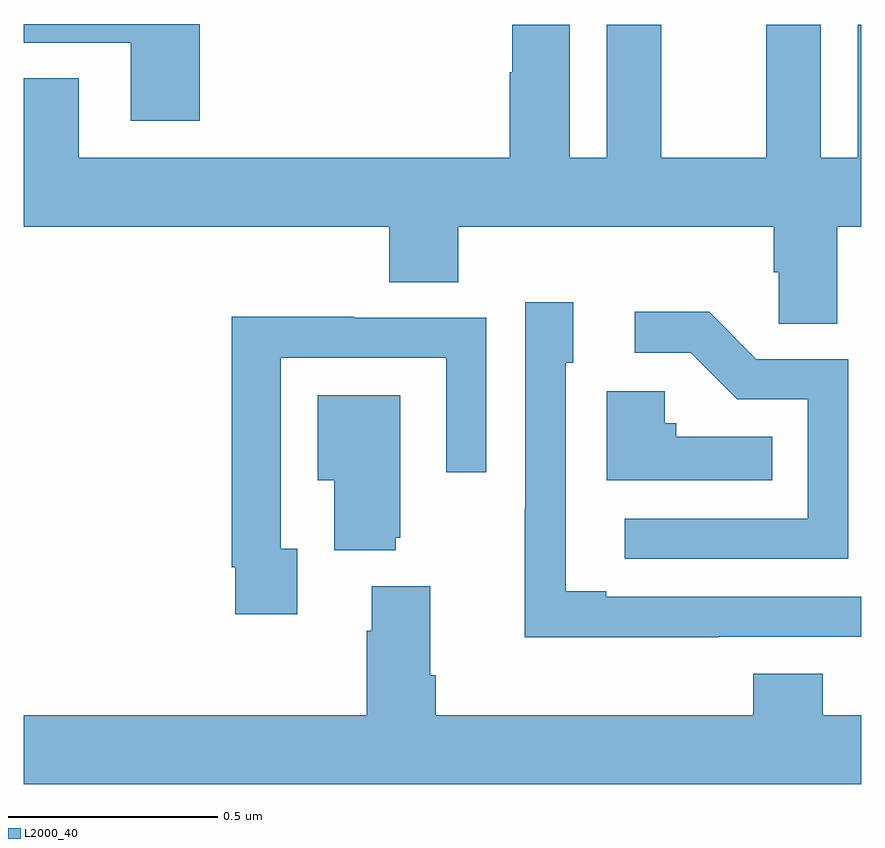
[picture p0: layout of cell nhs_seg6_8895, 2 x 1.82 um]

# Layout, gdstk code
import gdstk
lib = gdstk.Library(unit=1e-6, precision=1e-09)
def P(c, l, *ps):  # polygons
    for p in ps: c.add(gdstk.Polygon(p, *l))
L2000_40 = (2000, 40)

nhs_seg6_8895 = lib.new_cell('nhs_seg6_8895')
P(nhs_seg6_8895, L2000_40, [(227.42,934.5),(227,934.5),(227,934.455),(227.255,934.455),(227.255,934.269),(227.42,934.269)],
  [(228.943,934.016),(229,934.016),(229,934.498),(228.992,934.498),(228.992,934.18),(228.904,934.18),(228.904,934.498),(228.773,934.498),(228.773,934.18),(228.523,934.18),(228.523,934.498),(228.392,934.498),(228.392,934.18),(228.304,934.18),(228.304,934.498),(228.167,934.498),(228.167,934.385),(228.161,934.385),(228.161,934.18),(227.131,934.18),(227.131,934.37),(227,934.37),(227,934.016),(227.873,934.016),(227.873,933.883),(228.038,933.883),(228.038,934.016),(228.791,934.016),(228.791,933.907),(228.804,933.907),(228.804,933.784),(228.943,933.784)],
  [(228.659,933.036),(229,933.036),(229,933.132),(228.391,933.132),(228.391,933.145),(228.294,933.145),(228.294,933.69),(228.313,933.69),(228.313,933.835),(228.198,933.835),(228.198,933.341),(228.196,933.341),(228.196,933.035),(228.659,933.035)],
  [(228.969,933.699),(228.75,933.699),(228.637,933.812),(228.459,933.812),(228.459,933.714),(228.593,933.714),(228.704,933.603),(228.873,933.603),(228.873,933.318),(228.435,933.318),(228.435,933.222),(228.969,933.222)],
  [(227.653,933.246),(227.613,933.246),(227.613,933.702),(228.009,933.702),(228.009,933.429),(228.105,933.429),(228.105,933.798),(227.789,933.798),(227.789,933.8),(227.497,933.8),(227.497,933.202),(227.505,933.202),(227.505,933.09),(227.653,933.09)],
  [(228.788,933.514),(228.558,933.514),(228.558,933.546),(228.531,933.546),(228.531,933.622),(228.392,933.622),(228.392,933.41),(228.788,933.41)],
  [(227.888,933.273),(227.899,933.273),(227.899,933.613),(227.702,933.613),(227.702,933.41),(227.741,933.41),(227.741,933.242),(227.888,933.242)],
  [(229,932.848),(228.908,932.848),(228.908,932.947),(228.743,932.947),(228.743,932.848),(227.984,932.848),(227.984,932.944),(227.971,932.944),(227.971,933.157),(227.831,933.157),(227.831,933.05),(227.819,933.05),(227.819,932.848),(227,932.848),(227,932.684),(229,932.684)])

lib.write_gds('nhs_seg6_8895.gds')
